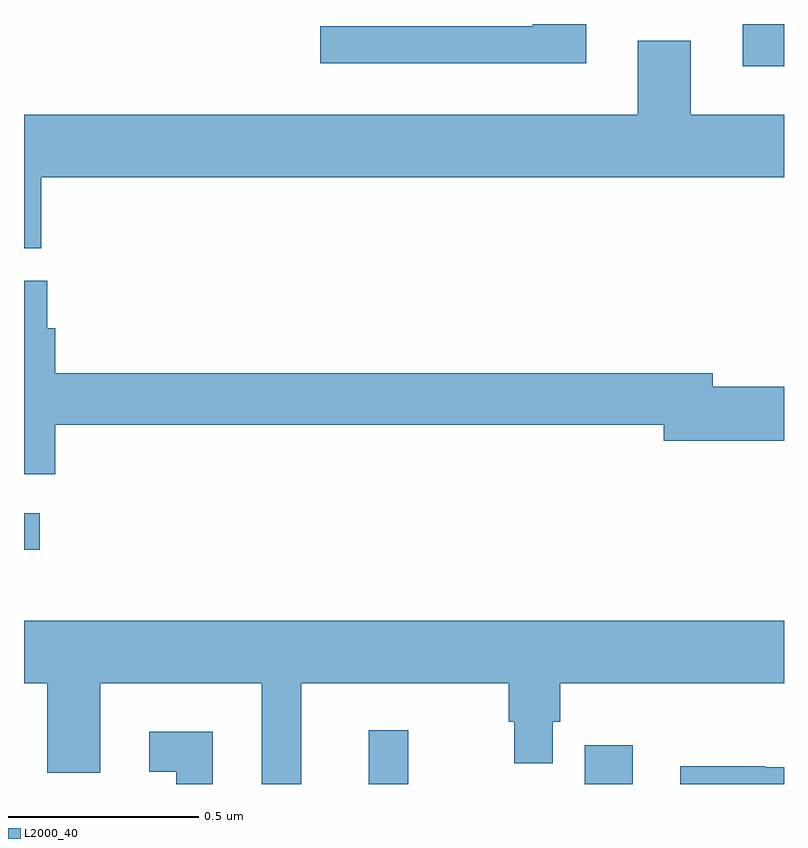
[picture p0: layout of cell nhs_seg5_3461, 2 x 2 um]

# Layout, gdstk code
import gdstk
lib = gdstk.Library(unit=1e-6, precision=1e-09)
def R(c, l, rs):  # rectangles x0, y0, x1, y1
    for r in rs: c.add(gdstk.rectangle(r[:2], r[2:], *l))
def P(c, l, *ps):  # polygons
    for p in ps: c.add(gdstk.Polygon(p, *l))
L2000_40 = (2000, 40)

nhs_seg5_3461 = lib.new_cell('nhs_seg5_3461')
R(nhs_seg5_3461, L2000_40, [(157.907,885.799,158.011,885.94), (158.476,885.799,158.602,885.901), (157,886.416,157.042,886.512), (158.891,887.688,159,887.799)])
P(nhs_seg5_3461, L2000_40, [(158.479,887.799),(158.339,887.799),(158.339,887.793),(157.779,887.793),(157.779,887.696),(158.479,887.696)],
  [(157.046,887.396),(159,887.396),(159,887.56),(158.755,887.56),(158.755,887.755),(158.615,887.755),(158.615,887.56),(157,887.56),(157,887.209),(157.046,887.209)],
  [(157.082,886.744),(158.684,886.744),(158.684,886.702),(159,886.702),(159,886.844),(158.812,886.844),(158.812,886.88),(157.082,886.88),(157.082,886.998),(157.061,886.998),(157.061,887.124),(157,887.124),(157,886.614),(157.082,886.614)],
  [(157.729,886.064),(158.275,886.064),(158.275,885.963),(158.29,885.963),(158.29,885.854),(158.391,885.854),(158.391,885.963),(158.411,885.963),(158.411,886.064),(159,886.064),(159,886.228),(157,886.228),(157,886.064),(157.061,886.064),(157.061,885.829),(157.201,885.829),(157.201,886.064),(157.625,886.064),(157.625,885.799),(157.729,885.799)],
  [(157.497,885.937),(157.329,885.937),(157.329,885.831),(157.401,885.831),(157.401,885.799),(157.497,885.799)],
  [(159,885.843),(158.951,885.843),(158.951,885.846),(158.727,885.846),(158.727,885.799),(159,885.799)])

lib.write_gds('nhs_seg5_3461.gds')
